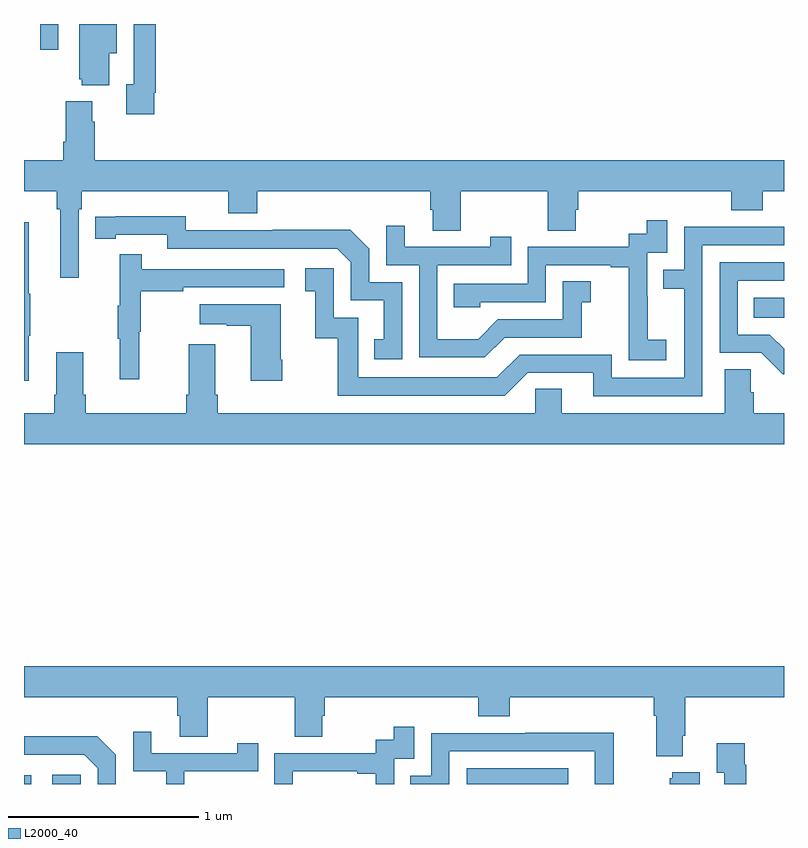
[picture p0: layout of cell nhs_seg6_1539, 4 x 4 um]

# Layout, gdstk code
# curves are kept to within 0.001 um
import gdstk
lib = gdstk.Library(unit=1e-6, precision=1e-09)
def R(c, l, rs):  # rectangles x0, y0, x1, y1
    for r in rs: c.add(gdstk.rectangle(r[:2], r[2:], *l))
def P(c, l, *ps):  # polygons
    for p in ps: c.add(gdstk.Polygon(p, *l))
L2000_40 = (2000, 40)

nhs_seg6_1539 = lib.new_cell('nhs_seg6_1539')
R(nhs_seg6_1539, L2000_40, [(203,993.5,203.038,993.546), (203.148,993.5,203.298,993.55), (205.329,993.5,205.864,993.582), (206.842,995.954,207,996.058), (203.085,997.365,203.181,997.5)])
P(nhs_seg6_1539, L2000_40, [(203.686,997.138),(203.693,997.138),(203.693,997.5),(203.577,997.5),(203.577,997.182),(203.537,997.182),(203.537,997.026),(203.686,997.026)],
  [(203.449,997.346),(203.488,997.346),(203.488,997.5),(203.291,997.5),(203.291,997.209),(203.303,997.209),(203.303,997.178),(203.449,997.178)],
  [(203.289,996.524),(203.303,996.524),(203.303,996.62),(204.074,996.62),(204.074,996.503),(204.227,996.503),(204.227,996.62),(205.139,996.62),(205.139,996.522),(205.151,996.522),(205.151,996.412),(205.299,996.412),(205.299,996.62),(205.756,996.62),(205.756,996.412),(205.903,996.412),(205.903,996.522),(205.916,996.522),(205.916,996.62),(206.723,996.62),(206.723,996.521),(206.888,996.521),(206.888,996.62),(207,996.62),(207,996.784),(203.372,996.784),(203.372,996.986),(203.359,996.986),(203.359,997.093),(203.219,997.093),(203.219,996.88),(203.207,996.88),(203.207,996.784),(203,996.784),(203,996.62),(203.173,996.62),(203.173,996.524),(203.192,996.524),(203.192,996.165),(203.289,996.165)],
  [(204.99,996.141),(204.816,996.141),(204.816,996.318),(204.718,996.416),(204.31,996.416),(204.31,996.414),(203.85,996.414),(203.85,996.487),(203.374,996.486),(203.374,996.37),(203.482,996.37),(203.482,996.39),(203.754,996.39),(203.754,996.318),(204.648,996.318),(204.72,996.246),(204.72,996.045),(204.893,996.045),(204.893,995.841),(204.844,995.841),(204.844,995.736),(204.99,995.736)],
  [(206.38,995.839),(206.282,995.839),(206.282,996.068),(206.28,996.068),(206.28,996.297),(206.385,996.297),(206.385,996.466),(206.277,996.466),(206.277,996.396),(206.184,996.396),(206.184,996.327),(205.65,996.327),(205.65,996.132),(205.261,996.132),(205.261,996.009),(205.401,996.009),(205.401,996.036),(205.746,996.036),(205.746,996.231),(206.087,996.231),(206.087,996.219),(206.183,996.219),(206.183,995.935),(206.182,995.935),(206.182,995.729),(206.38,995.729)],
  [(203.026,995.86),(203.034,995.86),(203.034,996.081),(203.026,996.081),(203.026,996.457),(203,996.457),(203,995.622),(203.026,995.622)],
  [(205.531,995.85),(205.935,995.85),(205.935,996.035),(205.984,996.035),(205.984,996.145),(205.836,996.145),(205.836,995.946),(205.494,995.946),(205.39,995.842),(205.176,995.842),(205.176,996.231),(205.565,996.231),(205.565,996.379),(205.454,996.379),(205.454,996.327),(205.003,996.327),(205.003,996.439),(204.906,996.439),(204.906,996.231),(205.08,996.231),(205.08,995.745),(205.426,995.745)],
  [(206.571,996.336),(207,996.336),(207,996.434),(206.971,996.434),(206.971,996.432),(206.475,996.432),(206.475,996.207),(206.365,996.207),(206.365,996.106),(206.475,996.106),(206.475,995.637),(206.094,995.637),(206.094,995.76),(205.608,995.76),(205.488,995.64),(204.759,995.64),(204.759,995.955),(204.63,995.955),(204.63,996.214),(204.48,996.214),(204.48,996.093),(204.533,996.093),(204.533,995.847),(204.651,995.847),(204.651,995.544),(205.53,995.544),(205.65,995.664),(205.997,995.664),(205.997,995.541),(206.571,995.541)],
  [(203.606,995.88),(203.614,995.88),(203.614,996.094),(203.837,996.094),(203.837,996.114),(204.37,996.114),(204.37,996.21),(203.621,996.21),(203.621,996.289),(203.504,996.289),(203.504,996.017),(203.493,996.017),(203.493,995.843),(203.504,995.843),(203.504,995.631),(203.606,995.631)],
  [(207,995.791),(206.926,995.865),(206.757,995.865),(206.757,996.15),(207,996.15),(207,996.246),(206.661,996.246),(206.661,995.769),(206.88,995.769),(206.993,995.657),(207,995.657)],
  [(204.36,995.734),(204.352,995.734),(204.352,996.025),(203.925,996.025),(203.925,995.921),(204.068,995.921),(204.068,995.911),(204.194,995.911),(204.194,995.622),(204.36,995.622)],
  [(207,995.452),(206.84,995.452),(206.84,995.561),(206.826,995.561),(206.826,995.684),(206.687,995.684),(206.687,995.452),(205.831,995.452),(205.831,995.579),(205.692,995.579),(205.692,995.452),(204.02,995.452),(204.02,995.548),(204.007,995.548),(204.007,995.815),(203.867,995.815),(203.867,995.548),(203.855,995.548),(203.855,995.452),(203.324,995.452),(203.324,995.548),(203.311,995.548),(203.311,995.773),(203.171,995.773),(203.171,995.548),(203.159,995.548),(203.159,995.452),(203,995.452),(203,995.288),(207,995.288)],
  [(206.467,993.754),(206.48,993.754),(206.48,993.956),(207,993.956),(207,994.12),(203,994.12),(203,993.956),(203.807,993.956),(203.807,993.858),(203.819,993.858),(203.819,993.748),(203.967,993.748),(203.967,993.956),(204.424,993.956),(204.424,993.748),(204.571,993.748),(204.571,993.858),(204.584,993.858),(204.584,993.956),(205.391,993.956),(205.391,993.857),(205.556,993.857),(205.556,993.956),(206.315,993.956),(206.315,993.86),(206.327,993.86),(206.327,993.647),(206.467,993.647)],
  [(204.414,993.567),(204.755,993.567),(204.755,993.555),(204.851,993.555),(204.851,993.5),(204.948,993.5),(204.948,993.633),(205.053,993.633),(205.053,993.802),(204.945,993.802),(204.945,993.732),(204.852,993.732),(204.852,993.663),(204.318,993.663),(204.318,993.5),(204.414,993.5)],
  [(203.844,993.567),(204.233,993.567),(204.233,993.715),(204.122,993.715),(204.122,993.663),(203.671,993.663),(203.671,993.775),(203.574,993.775),(203.574,993.567),(203.748,993.567),(203.748,993.5),(203.844,993.5)],
  [(205.239,993.672),(206.004,993.672),(206.004,993.5),(206.103,993.5),(206.103,993.77),(205.639,993.77),(205.639,993.768),(205.143,993.768),(205.143,993.543),(205.033,993.543),(205.033,993.5),(205.239,993.5)],
  [(203.484,993.654),(203.386,993.752),(203,993.752),(203,993.654),(203.316,993.654),(203.388,993.582),(203.388,993.5),(203.484,993.5)],
  [(206.801,993.602),(206.794,993.602),(206.794,993.715),(206.645,993.715),(206.645,993.559),(206.685,993.559),(206.685,993.5),(206.801,993.5)],
  [(206.557,993.562),(206.411,993.562),(206.411,993.531),(206.399,993.531),(206.399,993.5),(206.557,993.5)])

lib.write_gds('nhs_seg6_1539.gds')
